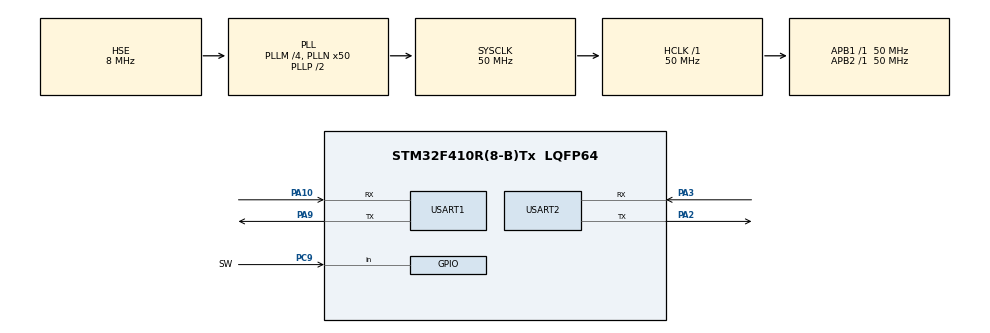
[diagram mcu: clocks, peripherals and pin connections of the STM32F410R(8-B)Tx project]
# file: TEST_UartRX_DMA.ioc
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Dma.Request0=USART1_RX
Dma.Request1=USART2_RX
Dma.USART1_RX.0.Direction=DMA_PERIPH_TO_MEMORY
Dma.USART1_RX.0.FIFOMode=DMA_FIFOMODE_DISABLE
Dma.USART1_RX.0.Instance=DMA2_Stream5
Dma.USART1_RX.0.MemDataAlignment=DMA_MDATAALIGN_BYTE
Dma.USART1_RX.0.MemInc=DMA_MINC_ENABLE
Dma.USART1_RX.0.Mode=DMA_NORMAL
Dma.USART1_RX.0.PeriphDataAlignment=DMA_PDATAALIGN_BYTE
Dma.USART1_RX.0.PeriphInc=DMA_PINC_DISABLE
Dma.USART1_RX.0.Priority=DMA_PRIORITY_LOW
Dma.USART2_RX.1.Direction=DMA_PERIPH_TO_MEMORY
Dma.USART2_RX.1.FIFOMode=DMA_FIFOMODE_DISABLE
Dma.USART2_RX.1.Instance=DMA1_Stream5
Dma.USART2_RX.1.MemDataAlignment=DMA_MDATAALIGN_BYTE
Dma.USART2_RX.1.MemInc=DMA_MINC_ENABLE
Dma.USART2_RX.1.Mode=DMA_NORMAL
Dma.USART2_RX.1.PeriphDataAlignment=DMA_PDATAALIGN_BYTE
Dma.USART2_RX.1.PeriphInc=DMA_PINC_DISABLE
Dma.USART2_RX.1.Priority=DMA_PRIORITY_LOW
Mcu.Family=STM32F4
Mcu.Name=STM32F410R(8-B)Tx
Mcu.Package=LQFP64
NVIC.DMA1_Stream5_IRQn=true\:0\:0\:false\:false\:true\:false\:true
NVIC.DMA2_Stream5_IRQn=true\:0\:0\:false\:false\:true\:false\:true
NVIC.PriorityGroup=NVIC_PRIORITYGROUP_4
NVIC.USART2_IRQn=true\:0\:0\:false\:false\:true\:true\:true
PA10.Mode=Asynchronous
PA10.Signal=USART1_RX
PA13.Mode=Serial_Wire
PA13.Signal=SYS_JTMS-SWDIO
PA14.Mode=Serial_Wire
PA14.Signal=SYS_JTCK-SWCLK
PA2.Mode=Asynchronous
PA2.Signal=USART2_TX
PA3.Mode=Asynchronous
PA3.Signal=USART2_RX
PA9.Mode=Asynchronous
PA9.Signal=USART1_TX
PC14-OSC32_IN.Mode=LSE-External-Oscillator
PC14-OSC32_IN.Signal=RCC_OSC32_IN
PC15-OSC32_OUT.Mode=LSE-External-Oscillator
PC15-OSC32_OUT.Signal=RCC_OSC32_OUT
PC9.GPIO_Label=SW
PC9.Signal=GPIO_Input
PH0\ -\ OSC_IN.Mode=HSE-External-Oscillator
PH0\ -\ OSC_IN.Signal=RCC_OSC_IN
PH1\ -\ OSC_OUT.Mode=HSE-External-Oscillator
PH1\ -\ OSC_OUT.Signal=RCC_OSC_OUT
ProjectManager.HeapSize=0x200
ProjectManager.StackSize=0x400
ProjectManager.TargetToolchain=SW4STM32
RCC.48MHZClocksFreq_Value=25000000
RCC.AHBFreq_Value=50000000
RCC.APB1Freq_Value=50000000
RCC.APB1TimFreq_Value=50000000
RCC.APB2Freq_Value=50000000
RCC.APB2TimFreq_Value=50000000
RCC.CortexFreq_Value=50000000
RCC.HCLKFreq_Value=50000000
RCC.HSE_VALUE=8000000
RCC.HSI_VALUE=16000000
RCC.PLLM=4
RCC.PLLN=50
RCC.PLLSourceVirtual=RCC_PLLSOURCE_HSE
RCC.SYSCLKFreq_VALUE=50000000
RCC.SYSCLKSource=RCC_SYSCLKSOURCE_PLLCLK
RCC.VCOOutputFreq_Value=100000000
USART1.VirtualMode=VM_ASYNC
USART2.VirtualMode=VM_ASYNC
board=custom

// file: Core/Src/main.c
/* USER CODE BEGIN Header */
/**
  ******************************************************************************
  * @file           : main.c
  * @brief          : Main program body
  ******************************************************************************
  * @attention
  *
  * <h2><center>&copy; Copyright (c) 2021 STMicroelectronics.
  * All rights reserved.</center></h2>
  *
  * This software component is licensed by ST under BSD 3-Clause license,
  * the "License"; You may not use this file except in compliance with the
  * License. You may obtain a copy of the License at:
  *                        opensource.org/licenses/BSD-3-Clause
  *
  ******************************************************************************
  */
/* USER CODE END Header */
#include "main.h"

UART_HandleTypeDef huart1;
UART_HandleTypeDef huart2;
DMA_HandleTypeDef hdma_usart1_rx;
DMA_HandleTypeDef hdma_usart2_rx;

/* USER CODE BEGIN PV */
uint8_t rxbuffer[10] = {0};

/* USER CODE END PV */

void SystemClock_Config(void);
static void MX_GPIO_Init(void);
static void MX_DMA_Init(void);
static void MX_USART1_UART_Init(void);
static void MX_USART2_UART_Init(void);

/* USER CODE BEGIN 0 */
#include <errno.h>
#include <sys/stat.h>
#include <sys/times.h>
#include <sys/unistd.h>
int _write(int file, char *ptr, int len) {
    HAL_StatusTypeDef xStatus;
    switch (file) {
    case STDOUT_FILENO: /*stdout*/
		xStatus = HAL_UART_Transmit(&huart2, (uint8_t*)ptr, len, HAL_MAX_DELAY);
		if (xStatus != HAL_OK) {
			errno = EIO;
			return -1;
		}
        break;
    case STDERR_FILENO: /* stderr */
		xStatus = HAL_UART_Transmit(&huart2, (uint8_t*)ptr, len, HAL_MAX_DELAY);
		if (xStatus != HAL_OK) {
			errno = EIO;
			return -1;
		}
        break;
    default:
        errno = EBADF;
        return -1;
    }
    return len;
}

void HAL_UART_RxCpltCallback(UART_HandleTypeDef *huart)
{
	hdma_usart1_rx.Instance->CR=0XA00051E;

	  hdma_usart1_rx.Instance->NDTR='10';

	  hdma_usart1_rx.Instance->CR=0XA00051F;
}

/* USER CODE END 0 */

int main(void)
{

  /* MCU Configuration--------------------------------------------------------*/

  /* Reset of all peripherals, Initializes the Flash interface and the Systick. */
  HAL_Init();

  /* Configure the system clock */
  SystemClock_Config();

  /* Initialize all configured peripherals */
  MX_GPIO_Init();
  MX_DMA_Init();
  MX_USART1_UART_Init();
  MX_USART2_UART_Init();
  /* USER CODE BEGIN 2 */
  HAL_UART_Receive_DMA(&huart2,rxbuffer,10);

  /* USER CODE END 2 */

  /* Infinite loop */
  while (1)
  {

    /* USER CODE BEGIN 3 */
	  if(HAL_GPIO_ReadPin(SW_GPIO_Port,SW_Pin) == 0)
	  {
		  //HAL_UART_DMAStop(&huart1);

		  uint32_t bytesRX DMA1_Stream5->NDTR;

		  //rxbuffer[0] = '\0';
	  }
	  printf("(");
	  printf(rxbuffer);
	  printf(")\r\n");
	  HAL_Delay(1000);
  }
  /* USER CODE END 3 */
}

void SystemClock_Config(void)
{
  RCC_OscInitTypeDef RCC_OscInitStruct = {0};
  RCC_ClkInitTypeDef RCC_ClkInitStruct = {0};

  /** Configure the main internal regulator output voltage
  */
  __HAL_RCC_PWR_CLK_ENABLE();
  __HAL_PWR_VOLTAGESCALING_CONFIG(PWR_REGULATOR_VOLTAGE_SCALE1);
  /** Initializes the RCC Oscillators according to the specified parameters
  * in the RCC_OscInitTypeDef structure.
  */
  RCC_OscInitStruct.OscillatorType = RCC_OSCILLATORTYPE_HSE;
  RCC_OscInitStruct.HSEState = RCC_HSE_ON;
  RCC_OscInitStruct.PLL.PLLState = RCC_PLL_ON;
  RCC_OscInitStruct.PLL.PLLSource = RCC_PLLSOURCE_HSE;
  RCC_OscInitStruct.PLL.PLLM = 4;
  RCC_OscInitStruct.PLL.PLLN = 50;
  RCC_OscInitStruct.PLL.PLLP = RCC_PLLP_DIV2;
  RCC_OscInitStruct.PLL.PLLQ = 4;
  RCC_OscInitStruct.PLL.PLLR = 2;
  if (HAL_RCC_OscConfig(&RCC_OscInitStruct) != HAL_OK)
  {
    Error_Handler();
  }
  /** Initializes the CPU, AHB and APB buses clocks
  */
  RCC_ClkInitStruct.ClockType = RCC_CLOCKTYPE_HCLK|RCC_CLOCKTYPE_SYSCLK
                              |RCC_CLOCKTYPE_PCLK1|RCC_CLOCKTYPE_PCLK2;
  RCC_ClkInitStruct.SYSCLKSource = RCC_SYSCLKSOURCE_PLLCLK;
  RCC_ClkInitStruct.AHBCLKDivider = RCC_SYSCLK_DIV1;
  RCC_ClkInitStruct.APB1CLKDivider = RCC_HCLK_DIV1;
  RCC_ClkInitStruct.APB2CLKDivider = RCC_HCLK_DIV1;

  if (HAL_RCC_ClockConfig(&RCC_ClkInitStruct, FLASH_LATENCY_1) != HAL_OK)
  {
    Error_Handler();
  }
}

static void MX_USART1_UART_Init(void)
{

  huart1.Instance = USART1;
  huart1.Init.BaudRate = 115200;
  huart1.Init.WordLength = UART_WORDLENGTH_8B;
  huart1.Init.StopBits = UART_STOPBITS_1;
  huart1.Init.Parity = UART_PARITY_NONE;
  huart1.Init.Mode = UART_MODE_TX_RX;
  huart1.Init.HwFlowCtl = UART_HWCONTROL_NONE;
  huart1.Init.OverSampling = UART_OVERSAMPLING_16;
  if (HAL_UART_Init(&huart1) != HAL_OK)
  {
    Error_Handler();
  }

}

static void MX_USART2_UART_Init(void)
{

  huart2.Instance = USART2;
  huart2.Init.BaudRate = 115200;
  huart2.Init.WordLength = UART_WORDLENGTH_8B;
  huart2.Init.StopBits = UART_STOPBITS_1;
  huart2.Init.Parity = UART_PARITY_NONE;
  huart2.Init.Mode = UART_MODE_TX_RX;
  huart2.Init.HwFlowCtl = UART_HWCONTROL_NONE;
  huart2.Init.OverSampling = UART_OVERSAMPLING_16;
  if (HAL_UART_Init(&huart2) != HAL_OK)
  {
    Error_Handler();
  }

}

static void MX_DMA_Init(void)
{

  /* DMA controller clock enable */
  __HAL_RCC_DMA2_CLK_ENABLE();
  __HAL_RCC_DMA1_CLK_ENABLE();

  /* DMA interrupt init */
  /* DMA1_Stream5_IRQn interrupt configuration */
  HAL_NVIC_SetPriority(DMA1_Stream5_IRQn, 0, 0);
  HAL_NVIC_EnableIRQ(DMA1_Stream5_IRQn);
  /* DMA2_Stream5_IRQn interrupt configuration */
  HAL_NVIC_SetPriority(DMA2_Stream5_IRQn, 0, 0);
  HAL_NVIC_EnableIRQ(DMA2_Stream5_IRQn);

}

static void MX_GPIO_Init(void)
{
  GPIO_InitTypeDef GPIO_InitStruct = {0};

  /* GPIO Ports Clock Enable */
  __HAL_RCC_GPIOC_CLK_ENABLE();
  __HAL_RCC_GPIOH_CLK_ENABLE();
  __HAL_RCC_GPIOA_CLK_ENABLE();

  /*Configure GPIO pin : SW_Pin */
  GPIO_InitStruct.Pin = SW_Pin;
  GPIO_InitStruct.Mode = GPIO_MODE_INPUT;
  GPIO_InitStruct.Pull = GPIO_NOPULL;
  HAL_GPIO_Init(SW_GPIO_Port, &GPIO_InitStruct);

}

void Error_Handler(void)
{
}

/************************ (C) COPYRIGHT STMicroelectronics *****END OF FILE****/
